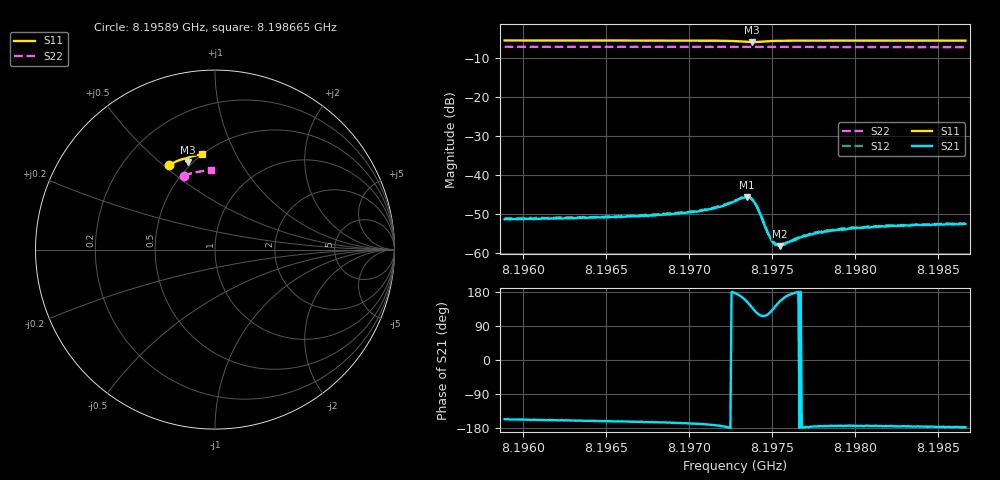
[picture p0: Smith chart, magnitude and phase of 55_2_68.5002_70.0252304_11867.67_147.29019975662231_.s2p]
#  HZ  S  RI  R  50.00
! Rohde & Schwarz Vector Network Analyzer
! Rohde-Schwarz,ZNB20-2Port,1311601062101988,3.16
! Created: UTC 3/20/2024, 4:51:00 PM
! freq[Hz]  re:S11  im:S11  re:S21  im:S21  re:S12  im:S12  re:S22  im:S22
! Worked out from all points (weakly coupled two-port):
!   401 points, 8.19589 GHz to 8.198665 GHz, reference 50 ohm
!   highest |S21| = -45.59 dB at 8.197347 GHz (marker M1); lowest = -58.2 dB at 8.197548 GHz (marker M2)
!   lowest |S11| = -5.8 dB at 8.197381 GHz (marker M3), VSWR 3.09, Z = 23.7 + j31.3 ohm
!   |S11| at or under -10 dB: nowhere
!   |S22| runs from -7.1 to -7.0 dB; largest |S21 - S12| = 0.00027
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8.1958904e9  -0.2538 0.4736  -0.00249 -0.00111  -0.00259 -0.000986  -0.1748 0.4104
8.1963551e9  -0.2235 0.488  -0.00266 -0.000974  -0.00277 -0.000849  -0.1503 0.4193
8.1968197e9  -0.1917 0.5005  -0.003 -0.000825  -0.00308 -0.000717  -0.125 0.4265
8.1970625e9  -0.1731 0.5061  -0.00339 -0.000688  -0.00347 -0.000534  -0.112 0.4298
8.1971942e9  -0.1609 0.5078  -0.00397 -0.00039  -0.00405 -0.000257  -0.1045 0.4313
8.1972775e9  -0.1511 0.5054  -0.00464 0.000295  -0.00471 0.000497  -0.0998 0.432
8.1973191e9  -0.146 0.5007  -0.00495 0.00125  -0.00497 0.00144  -0.0975 0.4323
8.1973468e9  -0.145 0.4954  -0.00477 0.0022  -0.00476 0.00247  -0.096 0.4326
8.1973607e9  -0.1462 0.4923  -0.00444 0.00271  -0.00437 0.00296  -0.0953 0.4326
8.1973815e9  -0.1499 0.4889  -0.00358 0.00327  -0.00349 0.00346  -0.0944 0.4328
8.1974023e9  -0.155 0.4886  -0.00251 0.00335  -0.00241 0.00349  -0.0935 0.4329
8.1974162e9  -0.1579 0.4903  -0.00191 0.0031  -0.00181 0.00325  -0.0926 0.4331
8.1974855e9  -0.1599 0.5025  -0.000921 0.00136  -0.000906 0.00138  -0.089 0.4342
8.1974994e9  -0.1588 0.5044  -0.000928 0.00108  -0.000934 0.00113  -0.0882 0.4342
8.1975133e9  -0.1576 0.5058  -0.000968 0.000898  -0.000983 0.000965  -0.0875 0.4345
8.1975271e9  -0.1564 0.5072  -0.00106 0.000754  -0.00106 0.000776  -0.0866 0.4347
8.1975479e9  -0.1545 0.509  -0.00112 0.000507  -0.00115 0.000603  -0.0855 0.4349
8.1976728e9  -0.1434 0.5148  -0.0016 1.29e-06  -0.00163 5.77e-05  -0.0784 0.4361
8.1977421e9  -0.1377 0.5169  -0.00174 -0.000122  -0.00181 -4.8e-05  -0.0745 0.4367
8.1979224e9  -0.1238 0.5208  -0.00197 -0.000214  -0.00208 -0.000145  -0.0644 0.4378
8.1982068e9  -0.1031 0.5252  -0.0022 -0.000202  -0.00226 -0.0001  -0.0485 0.4395
8.1986645e9  -0.0703 0.53  -0.00237 -0.000112  -0.00242 6.21e-06  -0.0226 0.4407
